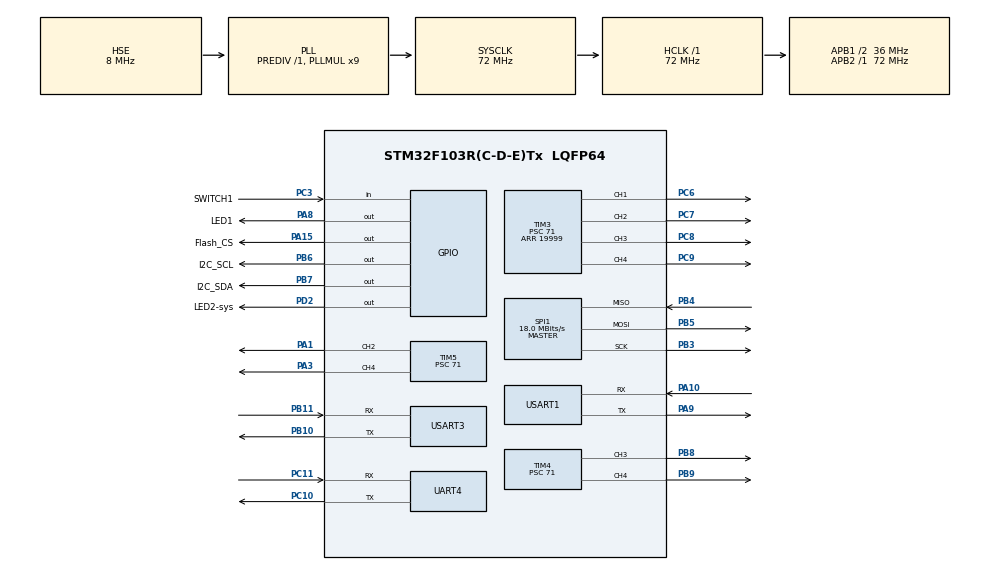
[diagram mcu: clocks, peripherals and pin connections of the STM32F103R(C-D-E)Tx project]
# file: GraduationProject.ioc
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Dma.Request0=USART3_RX
Dma.Request1=USART1_RX
Dma.Request2=UART4_RX
Dma.Request3=USART3_TX
Dma.Request4=USART1_TX
Dma.Request5=UART4_TX
Dma.UART4_RX.2.Direction=DMA_PERIPH_TO_MEMORY
Dma.UART4_RX.2.Instance=DMA2_Channel3
Dma.UART4_RX.2.MemDataAlignment=DMA_MDATAALIGN_BYTE
Dma.UART4_RX.2.MemInc=DMA_MINC_ENABLE
Dma.UART4_RX.2.Mode=DMA_NORMAL
Dma.UART4_RX.2.PeriphDataAlignment=DMA_PDATAALIGN_BYTE
Dma.UART4_RX.2.PeriphInc=DMA_PINC_DISABLE
Dma.UART4_RX.2.Priority=DMA_PRIORITY_LOW
Dma.UART4_TX.5.Direction=DMA_MEMORY_TO_PERIPH
Dma.UART4_TX.5.Instance=DMA2_Channel5
Dma.UART4_TX.5.MemDataAlignment=DMA_MDATAALIGN_BYTE
Dma.UART4_TX.5.MemInc=DMA_MINC_ENABLE
Dma.UART4_TX.5.Mode=DMA_NORMAL
Dma.UART4_TX.5.PeriphDataAlignment=DMA_PDATAALIGN_BYTE
Dma.UART4_TX.5.PeriphInc=DMA_PINC_DISABLE
Dma.UART4_TX.5.Priority=DMA_PRIORITY_LOW
Dma.USART1_RX.1.Direction=DMA_PERIPH_TO_MEMORY
Dma.USART1_RX.1.Instance=DMA1_Channel5
Dma.USART1_RX.1.MemDataAlignment=DMA_MDATAALIGN_BYTE
Dma.USART1_RX.1.MemInc=DMA_MINC_ENABLE
Dma.USART1_RX.1.Mode=DMA_NORMAL
Dma.USART1_RX.1.PeriphDataAlignment=DMA_PDATAALIGN_BYTE
Dma.USART1_RX.1.PeriphInc=DMA_PINC_DISABLE
Dma.USART1_RX.1.Priority=DMA_PRIORITY_LOW
Dma.USART1_TX.4.Direction=DMA_MEMORY_TO_PERIPH
Dma.USART1_TX.4.Instance=DMA1_Channel4
Dma.USART1_TX.4.MemDataAlignment=DMA_MDATAALIGN_BYTE
Dma.USART1_TX.4.MemInc=DMA_MINC_ENABLE
Dma.USART1_TX.4.Mode=DMA_NORMAL
Dma.USART1_TX.4.PeriphDataAlignment=DMA_PDATAALIGN_BYTE
Dma.USART1_TX.4.PeriphInc=DMA_PINC_DISABLE
Dma.USART1_TX.4.Priority=DMA_PRIORITY_LOW
Dma.USART3_RX.0.Direction=DMA_PERIPH_TO_MEMORY
Dma.USART3_RX.0.Instance=DMA1_Channel3
Dma.USART3_RX.0.MemDataAlignment=DMA_MDATAALIGN_BYTE
Dma.USART3_RX.0.MemInc=DMA_MINC_ENABLE
Dma.USART3_RX.0.Mode=DMA_CIRCULAR
Dma.USART3_RX.0.PeriphDataAlignment=DMA_PDATAALIGN_BYTE
Dma.USART3_RX.0.PeriphInc=DMA_PINC_DISABLE
Dma.USART3_RX.0.Priority=DMA_PRIORITY_LOW
Dma.USART3_TX.3.Direction=DMA_MEMORY_TO_PERIPH
Dma.USART3_TX.3.Instance=DMA1_Channel2
Dma.USART3_TX.3.MemDataAlignment=DMA_MDATAALIGN_BYTE
Dma.USART3_TX.3.MemInc=DMA_MINC_ENABLE
Dma.USART3_TX.3.Mode=DMA_NORMAL
Dma.USART3_TX.3.PeriphDataAlignment=DMA_PDATAALIGN_BYTE
Dma.USART3_TX.3.PeriphInc=DMA_PINC_DISABLE
Dma.USART3_TX.3.Priority=DMA_PRIORITY_LOW
FREERTOS.BinarySemaphores01=serialSemaphore1,Dynamic,NULL
FREERTOS.Events01=newSignal,Dynamic,NULL
FREERTOS.Mutexes01=myMutex_ServoInput,Dynamic,NULL
FREERTOS.Tasks01=defaultTask,8,128,StartDefaultTask,Default,NULL,Dynamic,NULL,NULL;Init_all_task,47,128,StartTask02,Default,NULL,Dynamic,NULL,NULL;ToggleLEDTask,39,128,ToggleLED1,Default,NULL,Dynamic,NULL,NULL;task20Task,33,1024,task20,Default,NULL,Dynamic,NULL,NULL;servo0Task,24,128,setServo0,Default,NULL,Dynamic,NULL,NULL;servo1Task,25,128,setServo1,Default,NULL,Dynamic,NULL,NULL;servo2Task,26,128,setServo2,Default,NULL,Dynamic,NULL,NULL;servo3Task,27,128,setServo3,Default,NULL,Dynamic,NULL,NULL;servo4Task,28,128,setServo4,Default,NULL,Dynamic,NULL,NULL;servo5Task,29,128,setServo5,Default,NULL,Dynamic,NULL,NULL;checkserverTask,30,128,checkserver,Default,NULL,Dynamic,NULL,NULL
FREERTOS.configTOTAL_HEAP_SIZE=16384
FREERTOS.configUSE_TICK_HOOK=1
Mcu.Family=STM32F1
Mcu.Name=STM32F103R(C-D-E)Tx
Mcu.Package=LQFP64
NVIC.DMA1_Channel2_IRQn=true\:5\:0\:false\:false\:true\:true\:false\:true
NVIC.DMA1_Channel3_IRQn=true\:5\:0\:false\:false\:true\:true\:false\:true
NVIC.DMA1_Channel4_IRQn=true\:5\:0\:false\:false\:true\:true\:false\:true
NVIC.DMA1_Channel5_IRQn=true\:5\:0\:false\:false\:true\:true\:false\:true
NVIC.DMA2_Channel3_IRQn=true\:5\:0\:false\:false\:true\:true\:false\:true
NVIC.DMA2_Channel4_5_IRQn=true\:5\:0\:false\:false\:true\:true\:false\:true
NVIC.PriorityGroup=NVIC_PRIORITYGROUP_4
NVIC.TIM6_IRQn=true\:0\:0\:false\:false\:true\:false\:false\:true
NVIC.TimeBase=TIM6_IRQn
NVIC.TimeBaseIP=TIM6
NVIC.UART4_IRQn=true\:5\:0\:false\:false\:true\:true\:true\:true
NVIC.USART1_IRQn=true\:5\:0\:false\:false\:true\:true\:true\:true
NVIC.USART3_IRQn=true\:5\:0\:false\:false\:true\:true\:true\:true
PA0-WKUP.Mode=SYS_WakeUp0
PA0-WKUP.Signal=SYS_WKUP
PA1.Signal=S_TIM5_CH2
PA10.Mode=Asynchronous
PA10.Signal=USART1_RX
PA13.Mode=Serial_Wire
PA13.Signal=SYS_JTMS-SWDIO
PA14.Mode=Serial_Wire
PA14.Signal=SYS_JTCK-SWCLK
PA15.GPIO_Label=Flash_CS
PA15.GPIO_PuPd=GPIO_PULLUP
PA15.GPIO_Speed=GPIO_SPEED_FREQ_HIGH
PA15.PinState=GPIO_PIN_SET
PA15.Signal=GPIO_Output
PA3.Signal=S_TIM5_CH4
PA8.GPIO_Label=LED1
PA8.GPIO_Speed=GPIO_SPEED_FREQ_HIGH
PA8.PinState=GPIO_PIN_SET
PA8.Signal=GPIO_Output
PA9.Mode=Asynchronous
PA9.Signal=USART1_TX
PB10.Mode=Asynchronous
PB10.Signal=USART3_TX
PB11.Mode=Asynchronous
PB11.Signal=USART3_RX
PB3.Mode=Full_Duplex_Master
PB3.Signal=SPI1_SCK
PB4.Mode=Full_Duplex_Master
PB4.Signal=SPI1_MISO
PB5.Mode=Full_Duplex_Master
PB5.Signal=SPI1_MOSI
PB6.GPIO_Label=I2C_SCL
PB6.GPIO_ModeDefaultOutputPP=GPIO_MODE_OUTPUT_OD
PB6.GPIO_PuPd=GPIO_PULLUP
PB6.GPIO_Speed=GPIO_SPEED_FREQ_HIGH
PB6.PinState=GPIO_PIN_SET
PB6.Signal=GPIO_Output
PB7.GPIO_Label=I2C_SDA
PB7.GPIO_ModeDefaultOutputPP=GPIO_MODE_OUTPUT_OD
PB7.GPIO_PuPd=GPIO_PULLUP
PB7.GPIO_Speed=GPIO_SPEED_FREQ_HIGH
PB7.PinState=GPIO_PIN_SET
PB7.Signal=GPIO_Output
PB8.Signal=S_TIM4_CH3
PB9.Signal=S_TIM4_CH4
PC10.Mode=Asynchronous
PC10.Signal=UART4_TX
PC11.Mode=Asynchronous
PC11.Signal=UART4_RX
PC14-OSC32_IN.Mode=LSE-External-Oscillator
PC14-OSC32_IN.Signal=RCC_OSC32_IN
PC15-OSC32_OUT.Mode=LSE-External-Oscillator
PC15-OSC32_OUT.Signal=RCC_OSC32_OUT
PC3.GPIO_Label=SWITCH1
PC3.GPIO_PuPd=GPIO_PULLUP
PC3.Signal=GPIO_Input
PC6.GPIO_Speed=GPIO_SPEED_FREQ_HIGH
PC6.Signal=S_TIM3_CH1
PC7.GPIO_Speed=GPIO_SPEED_FREQ_HIGH
PC7.Signal=S_TIM3_CH2
PC8.GPIO_Speed=GPIO_SPEED_FREQ_HIGH
PC8.Signal=S_TIM3_CH3
PC9.GPIO_Speed=GPIO_SPEED_FREQ_HIGH
PC9.Signal=S_TIM3_CH4
PD0-OSC_IN.Mode=HSE-External-Oscillator
PD0-OSC_IN.Signal=RCC_OSC_IN
PD1-OSC_OUT.Mode=HSE-External-Oscillator
PD1-OSC_OUT.Signal=RCC_OSC_OUT
PD2.GPIO_Label=LED2-sys
PD2.GPIO_ModeDefaultOutputPP=GPIO_MODE_OUTPUT_PP
PD2.GPIO_PuPd=GPIO_PULLUP
PD2.GPIO_Speed=GPIO_SPEED_FREQ_HIGH
PD2.PinState=GPIO_PIN_SET
PD2.Signal=GPIO_Output
ProjectManager.HeapSize=0x200
ProjectManager.StackSize=0x400
ProjectManager.TargetToolchain=MDK-ARM V5
RCC.AHBFreq_Value=72000000
RCC.APB1CLKDivider=RCC_HCLK_DIV2
RCC.APB1Freq_Value=36000000
RCC.APB1TimFreq_Value=72000000
RCC.APB2Freq_Value=72000000
RCC.APB2TimFreq_Value=72000000
RCC.HCLKFreq_Value=72000000
RCC.PLLMUL=RCC_PLL_MUL9
RCC.PLLSourceVirtual=RCC_PLLSOURCE_HSE
RCC.SYSCLKFreq_VALUE=72000000
RCC.SYSCLKSource=RCC_SYSCLKSOURCE_PLLCLK
RCC.USBFreq_Value=72000000
SH.S_TIM3_CH1.0=TIM3_CH1,PWM Generation1 CH1
SH.S_TIM3_CH2.0=TIM3_CH2,PWM Generation2 CH2
SH.S_TIM3_CH3.0=TIM3_CH3,PWM Generation3 CH3
SH.S_TIM3_CH4.0=TIM3_CH4,PWM Generation4 CH4
SH.S_TIM4_CH3.0=TIM4_CH3,PWM Generation3 CH3
SH.S_TIM4_CH4.0=TIM4_CH4,PWM Generation4 CH4
SH.S_TIM5_CH2.0=TIM5_CH2,PWM Generation2 CH2
SH.S_TIM5_CH4.0=TIM5_CH4,PWM Generation4 CH4
SPI1.BaudRatePrescaler=SPI_BAUDRATEPRESCALER_4
SPI1.CalculateBaudRate=18.0 MBits/s
SPI1.Direction=SPI_DIRECTION_2LINES
SPI1.Mode=SPI_MODE_MASTER
SPI1.VirtualType=VM_MASTER
TIM3.AutoReloadPreload=TIM_AUTORELOAD_PRELOAD_ENABLE
TIM3.Channel-PWM\ Generation1\ CH1=TIM_CHANNEL_1
TIM3.Channel-PWM\ Generation2\ CH2=TIM_CHANNEL_2
TIM3.Channel-PWM\ Generation3\ CH3=TIM_CHANNEL_3
TIM3.Channel-PWM\ Generation4\ CH4=TIM_CHANNEL_4
TIM3.OCMode_PWM-PWM\ Generation1\ CH1=TIM_OCMODE_PWM2
TIM3.OCMode_PWM-PWM\ Generation2\ CH2=TIM_OCMODE_PWM2
TIM3.OCMode_PWM-PWM\ Generation3\ CH3=TIM_OCMODE_PWM2
TIM3.OCMode_PWM-PWM\ Generation4\ CH4=TIM_OCMODE_PWM2
TIM3.OCPolarity_1=TIM_OCPOLARITY_LOW
TIM3.OCPolarity_2=TIM_OCPOLARITY_LOW
TIM3.OCPolarity_3=TIM_OCPOLARITY_LOW
TIM3.OCPolarity_4=TIM_OCPOLARITY_LOW
TIM3.Period=19999
TIM3.Prescaler=71
TIM4.AutoReloadPreload=TIM_AUTORELOAD_PRELOAD_ENABLE
TIM4.Channel-PWM\ Generation3\ CH3=TIM_CHANNEL_3
TIM4.Channel-PWM\ Generation4\ CH4=TIM_CHANNEL_4
TIM4.OCMode_PWM-PWM\ Generation3\ CH3=TIM_OCMODE_PWM2
TIM4.OCMode_PWM-PWM\ Generation4\ CH4=TIM_OCMODE_PWM2
TIM4.OCPolarity_3=TIM_OCPOLARITY_LOW
TIM4.OCPolarity_4=TIM_OCPOLARITY_LOW
TIM4.Period=19999
TIM4.Prescaler=71
TIM5.AutoReloadPreload=TIM_AUTORELOAD_PRELOAD_ENABLE
TIM5.Channel-PWM\ Generation2\ CH2=TIM_CHANNEL_2
TIM5.Channel-PWM\ Generation4\ CH4=TIM_CHANNEL_4
TIM5.OCMode_PWM-PWM\ Generation2\ CH2=TIM_OCMODE_PWM2
TIM5.OCMode_PWM-PWM\ Generation4\ CH4=TIM_OCMODE_PWM2
TIM5.OCPolarity_2=TIM_OCPOLARITY_LOW
TIM5.OCPolarity_4=TIM_OCPOLARITY_LOW
TIM5.Period=19999
TIM5.Prescaler=71
UART4.VirtualMode=Asynchronous
USART1.VirtualMode=VM_ASYNC
USART3.VirtualMode=VM_ASYNC
VP_FREERTOS_VS_CMSIS_V2.Mode=CMSIS_V2
VP_SYS_VS_tim6.Mode=TIM6
VP_TIM3_VS_ClockSourceINT.Mode=Internal
VP_TIM4_VS_ClockSourceINT.Mode=Internal
VP_TIM5_VS_ClockSourceINT.Mode=Internal
board=custom

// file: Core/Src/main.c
/* USER CODE BEGIN Header */
/**
  ******************************************************************************
  * @file           : main.c
  * @brief          : Main program body
  ******************************************************************************
  * @attention
  *
  * <h2><center>&copy; Copyright (c) 2020 STMicroelectronics.
  * All rights reserved.</center></h2>
  *
  * This software component is licensed by ST under BSD 3-Clause license,
  * the "License"; You may not use this file except in compliance with the
  * License. You may obtain a copy of the License at:
  *                        opensource.org/licenses/BSD-3-Clause
  *
  ******************************************************************************
  */
/* USER CODE END Header */
#include "main.h"
#include "cmsis_os.h"
#include "dma.h"
#include "spi.h"
#include "tim.h"
#include "usart.h"
#include "gpio.h"

/* USER CODE BEGIN Includes */
#include "I2C_SIM.h"
#include "OLED12864.h"
#include "ESP8266.h"
/* USER CODE END Includes */

/* USER CODE BEGIN PV */
I2C_SIM OLED_i2c;
/* USER CODE END PV */

void SystemClock_Config(void);
void MX_FREERTOS_Init(void);

int main(void)
{

  /* MCU Configuration--------------------------------------------------------*/

  /* Reset of all peripherals, Initializes the Flash interface and the Systick. */
  HAL_Init();

  /* Configure the system clock */
  SystemClock_Config();

  /* Initialize all configured peripherals */
  MX_GPIO_Init();
  MX_DMA_Init();
  MX_TIM3_Init();
  MX_USART1_UART_Init();
  MX_SPI1_Init();
  MX_TIM4_Init();
  MX_UART4_Init();
  MX_USART3_UART_Init();
  MX_TIM5_Init();
  /* USER CODE BEGIN 2 */
	I2C_StructInit(&OLED_i2c,
				  I2C_SCL_GPIO_Port, I2C_SCL_Pin,
				  I2C_SDA_GPIO_Port, I2C_SDA_Pin);
	I2C_Init(&OLED_i2c);
	OLED_Init(&OLED_i2c);
  /* USER CODE END 2 */

  /* Init scheduler */
  osKernelInitialize();  /* Call init function for freertos objects (in freertos.c) */
  MX_FREERTOS_Init();
  /* Start scheduler */
  osKernelStart();

  /* We should never get here as control is now taken by the scheduler */
  /* Infinite loop */
  while (1)
  {

  }
}

void SystemClock_Config(void)
{
  RCC_OscInitTypeDef RCC_OscInitStruct = {0};
  RCC_ClkInitTypeDef RCC_ClkInitStruct = {0};

  /** Initializes the RCC Oscillators according to the specified parameters
  * in the RCC_OscInitTypeDef structure.
  */
  RCC_OscInitStruct.OscillatorType = RCC_OSCILLATORTYPE_HSE;
  RCC_OscInitStruct.HSEState = RCC_HSE_ON;
  RCC_OscInitStruct.HSEPredivValue = RCC_HSE_PREDIV_DIV1;
  RCC_OscInitStruct.HSIState = RCC_HSI_ON;
  RCC_OscInitStruct.PLL.PLLState = RCC_PLL_ON;
  RCC_OscInitStruct.PLL.PLLSource = RCC_PLLSOURCE_HSE;
  RCC_OscInitStruct.PLL.PLLMUL = RCC_PLL_MUL9;
  if (HAL_RCC_OscConfig(&RCC_OscInitStruct) != HAL_OK)
  {
    Error_Handler();
  }
  /** Initializes the CPU, AHB and APB buses clocks
  */
  RCC_ClkInitStruct.ClockType = RCC_CLOCKTYPE_HCLK|RCC_CLOCKTYPE_SYSCLK
                              |RCC_CLOCKTYPE_PCLK1|RCC_CLOCKTYPE_PCLK2;
  RCC_ClkInitStruct.SYSCLKSource = RCC_SYSCLKSOURCE_PLLCLK;
  RCC_ClkInitStruct.AHBCLKDivider = RCC_SYSCLK_DIV1;
  RCC_ClkInitStruct.APB1CLKDivider = RCC_HCLK_DIV2;
  RCC_ClkInitStruct.APB2CLKDivider = RCC_HCLK_DIV1;

  if (HAL_RCC_ClockConfig(&RCC_ClkInitStruct, FLASH_LATENCY_2) != HAL_OK)
  {
    Error_Handler();
  }
}

 /**
  * @brief  Period elapsed callback in non blocking mode
  * @note   This function is called  when TIM6 interrupt took place, inside
  * HAL_TIM_IRQHandler(). It makes a direct call to HAL_IncTick() to increment
  * a global variable "uwTick" used as application time base.
  * @param  htim : TIM handle
  * @retval None
  */
void HAL_TIM_PeriodElapsedCallback(TIM_HandleTypeDef *htim)
{
  if (htim->Instance == TIM6) {
    HAL_IncTick();
  }
}

void Error_Handler(void)
{
  __disable_irq();
  while (1)
  {
  }
}

/************************ (C) COPYRIGHT STMicroelectronics *****END OF FILE****/

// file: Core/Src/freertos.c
/* USER CODE BEGIN Header */
/**
  ******************************************************************************
  * File Name          : freertos.c
  * Description        : Code for freertos applications
  ******************************************************************************
  * @attention
  *
  * <h2><center>&copy; Copyright (c) 2020 STMicroelectronics.
  * All rights reserved.</center></h2>
  *
  * This software component is licensed by ST under Ultimate Liberty license
  * SLA0044, the "License"; You may not use this file except in compliance with
  * the License. You may obtain a copy of the License at:
  *                             www.st.com/SLA0044
  *
  ******************************************************************************
  */
/* USER CODE END Header */

#include "FreeRTOS.h"
#include "task.h"
#include "main.h"
#include "cmsis_os.h"

/* USER CODE BEGIN Includes */
#include <stdlib.h>
#include "tim.h"
#include "usart.h"
#include "gpio.h"
#include "servo.h"
#include "stdio.h"
#include "OLED12864.h"
#include "ESP8266.h"
#include "oledicons.h"
#include "KMP.h"
#include "string.h"
#include "community.h"
#include "cJSON.h"
#include "w25qxx.h"
//#include "I2C_SIM.h"
/* USER CODE END Includes */

/* USER CODE BEGIN PTD */
#define WIFIENABLE
#define ACTION_DEMO
/* USER CODE END PTD */

/* USER CODE BEGIN PM */
extern UART_String uart3str,uart4str,uart1str;
extern I2C_SIM OLED_i2c;
/* USER CODE END PM */

/* USER CODE BEGIN Variables */

unsigned char init_finish_flag=0;
myservo Base_Servo,Servo1,Servo2,Servo3,Servo4,Grap_Servo;
char string111[UART_REVBUFFSIZE];
uint16_t strLength=0;
uint8_t dispalymode=0;
uint8_t offline_count;
extern uint8_t actGroupRW_temp[5][2];
uint8_t actGroupToRun[10][2];
/* USER CODE END Variables */
/* Definitions for defaultTask */
osThreadId_t defaultTaskHandle;
const osThreadAttr_t defaultTask_attributes = {
  .name = "defaultTask",
  .priority = (osPriority_t) osPriorityLow,
  .stack_size = 128 * 4
};
/* Definitions for Init_all_task */
osThreadId_t Init_all_taskHandle;
const osThreadAttr_t Init_all_task_attributes = {
  .name = "Init_all_task",
  .priority = (osPriority_t) osPriorityHigh7,
  .stack_size = 128 * 4
};
/* Definitions for ToggleLEDTask */
osThreadId_t ToggleLEDTaskHandle;
const osThreadAttr_t ToggleLEDTask_attributes = {
  .name = "ToggleLEDTask",
  .priority = (osPriority_t) osPriorityAboveNormal7,
  .stack_size = 128 * 4
};
/* Definitions for task20Task */
osThreadId_t task20TaskHandle;
const osThreadAttr_t task20Task_attributes = {
  .name = "task20Task",
  .priority = (osPriority_t) osPriorityAboveNormal1,
  .stack_size = 1024 * 4
};
/* Definitions for servo0Task */
osThreadId_t servo0TaskHandle;
const osThreadAttr_t servo0Task_attributes = {
  .name = "servo0Task",
  .priority = (osPriority_t) osPriorityNormal,
  .stack_size = 128 * 4
};
/* Definitions for servo1Task */
osThreadId_t servo1TaskHandle;
const osThreadAttr_t servo1Task_attributes = {
  .name = "servo1Task",
  .priority = (osPriority_t) osPriorityNormal1,
  .stack_size = 128 * 4
};
/* Definitions for servo2Task */
osThreadId_t servo2TaskHandle;
const osThreadAttr_t servo2Task_attributes = {
  .name = "servo2Task",
  .priority = (osPriority_t) osPriorityNormal2,
  .stack_size = 128 * 4
};
/* Definitions for servo3Task */
osThreadId_t servo3TaskHandle;
const osThreadAttr_t servo3Task_attributes = {
  .name = "servo3Task",
  .priority = (osPriority_t) osPriorityNormal3,
  .stack_size = 128 * 4
};
/* Definitions for servo4Task */
osThreadId_t servo4TaskHandle;
const osThreadAttr_t servo4Task_attributes = {
  .name = "servo4Task",
  .priority = (osPriority_t) osPriorityNormal4,
  .stack_size = 128 * 4
};
/* Definitions for servo5Task */
osThreadId_t servo5TaskHandle;
const osThreadAttr_t servo5Task_attributes = {
  .name = "servo5Task",
  .priority = (osPriority_t) osPriorityNormal5,
  .stack_size = 128 * 4
};
/* Definitions for checkserverTask */
osThreadId_t checkserverTaskHandle;
const osThreadAttr_t checkserverTask_attributes = {
  .name = "checkserverTask",
  .priority = (osPriority_t) osPriorityNormal6,
  .stack_size = 128 * 4
};
/* Definitions for actGroupTask */
osThreadId_t actGroupTaskHandle;
const osThreadAttr_t actGroupTask_attributes = {
  .name = "actGroupTask",
  .priority = (osPriority_t) osPriorityBelowNormal7,
  .stack_size = 128 * 4
};
/* Definitions for myMutex_ServoInput */
osMutexId_t myMutex_ServoInputHandle;
const osMutexAttr_t myMutex_ServoInput_attributes = {
  .name = "myMutex_ServoInput"
};
/* Definitions for serialSemaphore1 */
osSemaphoreId_t serialSemaphore1Handle;
const osSemaphoreAttr_t serialSemaphore1_attributes = {
  .name = "serialSemaphore1"
};
/* Definitions for newSignal */
osEventFlagsId_t newSignalHandle;
const osEventFlagsAttr_t newSignal_attributes = {
  .name = "newSignal"
};

void StartDefaultTask(void *argument);
void StartTask02(void *argument);
void ToggleLED1(void *argument);
void task20(void *argument);
void setServo0(void *argument);
void setServo1(void *argument);
void setServo2(void *argument);
void setServo3(void *argument);
void setServo4(void *argument);
void setServo5(void *argument);
void actGroupCtl(void *argument);
void checkserver(void *argument);

void MX_FREERTOS_Init(void); /* (MISRA C 2004 rule 8.1) */

/* Hook prototypes */
void vApplicationTickHook(void);

/* USER CODE BEGIN 3 */
void vApplicationTickHook( void )
{
   /* This function will be called by each tick interrupt if
   configUSE_TICK_HOOK is set to 1 in FreeRTOSConfig.h. User code can be
   added here, but the tick hook is called from an interrupt context, so
   code must not attempt to block, and only the interrupt safe FreeRTOS API
   functions can be used (those that end in FromISR()). */
}
/* USER CODE END 3 */

void MX_FREERTOS_Init(void) {
  /* Create the mutex(es) */
  /* creation of myMutex_ServoInput */
  myMutex_ServoInputHandle = osMutexNew(&myMutex_ServoInput_attributes);

  /* Create the semaphores(s) */
  /* creation of serialSemaphore1 */
  serialSemaphore1Handle = osSemaphoreNew(1, 1, &serialSemaphore1_attributes);

  /* Create the thread(s) */
  /* creation of defaultTask */
  defaultTaskHandle = osThreadNew(StartDefaultTask, NULL, &defaultTask_attributes);

  /* creation of Init_all_task */
  Init_all_taskHandle = osThreadNew(StartTask02, NULL, &Init_all_task_attributes);

  /* creation of ToggleLEDTask */
  ToggleLEDTaskHandle = osThreadNew(ToggleLED1, NULL, &ToggleLEDTask_attributes);

  /* creation of newSignal */
  newSignalHandle = osEventFlagsNew(&newSignal_attributes);

}

void StartDefaultTask(void *argument)
{
  /* USER CODE BEGIN StartDefaultTask */
  /* Infinite loop */
	while(1)
	{
	    /* Initialize all configured peripherals */
		HAL_GPIO_WritePin(LED2_sys_GPIO_Port,LED2_sys_Pin,GPIO_PIN_RESET);
		osDelay(100);
		HAL_GPIO_WritePin(LED2_sys_GPIO_Port,LED2_sys_Pin,GPIO_PIN_SET);
		osDelay(100);
		HAL_GPIO_WritePin(LED2_sys_GPIO_Port,LED2_sys_Pin,GPIO_PIN_RESET);
		osDelay(100);
		HAL_GPIO_WritePin(LED2_sys_GPIO_Port,LED2_sys_Pin,GPIO_PIN_SET);
		osDelay(2700);

	}
  /* USER CODE END StartDefaultTask */
}

void StartTask02(void *argument)
{
  /* USER CODE BEGIN StartTask02 */

  /* Infinite loop */
	while(1){
		/* USER CODE BEGIN 2 */
		HAL_TIM_PWM_Start(&htim3,TIM_CHANNEL_1);
		HAL_TIM_PWM_Start(&htim3,TIM_CHANNEL_2);
		HAL_TIM_PWM_Start(&htim3,TIM_CHANNEL_3);
		HAL_TIM_PWM_Start(&htim3,TIM_CHANNEL_4);
		HAL_TIM_PWM_Start(&htim4,TIM_CHANNEL_3);
		HAL_TIM_PWM_Start(&htim4,TIM_CHANNEL_4);

		cJSON_Hooks hooks;					//函数挂钩
		hooks.malloc_fn = pvPortMalloc;		//FreeRTOS内存申请
		hooks.free_fn = vPortFree;			//FreeRTOS内存释放
		cJSON_InitHooks(&hooks);			//保存设置

		/* USER CODE END 2 */

		/* USER TASK CREATION BEGIN */

		  /* creation of task20Task */
		task20TaskHandle = osThreadNew(task20, NULL, &task20Task_attributes);

		//printf("%d\r\n",(int)task20Handle);
		Base_Servo.angle_new=1500;
		Base_Servo.runtime=100;
		Servo1.angle_new=2500;
		Servo1.runtime=100;
		Servo2.angle_new=2500;
		Servo2.runtime=100;
		Servo3.angle_new=500;
		Servo3.runtime=100;
		Servo4.angle_new=1700;
		Servo4.runtime=100;
		Grap_Servo.angle_new=500;
		Grap_Servo.runtime=100;

		servo0TaskHandle = osThreadNew(setServo0, NULL, &servo0Task_attributes);
		servo1TaskHandle = osThreadNew(setServo1, NULL, &servo1Task_attributes);
		servo2TaskHandle = osThreadNew(setServo2, NULL, &servo2Task_attributes);
		servo3TaskHandle = osThreadNew(setServo3, NULL, &servo3Task_attributes);
		servo4TaskHandle = osThreadNew(setServo4, NULL, &servo4Task_attributes);
		servo5TaskHandle = osThreadNew(setServo5, NULL, &servo5Task_attributes);

		actGroupTaskHandle = osThreadNew(actGroupCtl,NULL,&actGroupTask_attributes);

		osThreadSuspend(task20TaskHandle);
		OLED_Fill(&OLED_i2c,0,0,127,63,1);
		OLED_Clear(&OLED_i2c);
		OLED_Showicons(0,0,(uint8_t *)gImage_BUCT,128,32,1);
		OLED_Showicons(16,40,(uint8_t *)gImage_jidian,96,24,1);
		OLED_Refresh_Gram(&OLED_i2c);
		osDelay(1000);
		osDelay(500);
		OLED_Clear(&OLED_i2c);
		OLED_ShowString(&OLED_i2c,0,0,(const uint8_t *)"Developed With: ",16);
		OLED_Showicons(0,32,(uint8_t *)gImage_onenet,128,32,1);
		OLED_Refresh_Gram(&OLED_i2c);
		osDelay(1000);
		osDelay(500);
		OLED_Clear(&OLED_i2c);

		W25qxx_Init();

		for(int i =0;i<128;i++){
			OLED_DrawPoint(i,11,1);
		}
		osThreadResume(task20TaskHandle);

#ifdef	ACTION_DEMO
		dispalymode=1;
		demo_group();
		dispalymode=0;
		OLED_Fill(&OLED_i2c,0,12,127,63,0);
#endif

#ifdef WIFIENABLE
		uint8_t *ptemp;
		ptemp=pvPortMalloc(10);
		W25qxx_ReadSector((uint8_t *)ptemp,WIFI_SECTOR,ENABLE_OFFSET,10);
		if(atoi((char *)ptemp)==1)
			Esp8266_Init();
		vPortFree(ptemp);
#endif
		for(int i =0;i<128;i++){
			OLED_DrawPoint(i,11,1);
		}

		osEventFlagsClear(newSignalHandle,0xFFFFFFFF);

		printf("current PID:\tpid_count %d\r\n",osThreadGetCount());
		printf("%d\t%s\t%d\r\n",(int)defaultTaskHandle,osThreadGetName(defaultTaskHandle),osThreadGetState(defaultTaskHandle));
		printf("%d\t%s\t%d\r\n",(int)ToggleLEDTaskHandle,osThreadGetName(ToggleLEDTaskHandle),osThreadGetState(ToggleLEDTaskHandle));
		printf("%d\t%s\t%d\r\n",(int)servo0TaskHandle,osThreadGetName(servo0TaskHandle),osThreadGetState(servo0TaskHandle));
		printf("%d\t%s\t%d\r\n",(int)servo1TaskHandle,osThreadGetName(servo1TaskHandle),osThreadGetState(servo1TaskHandle));
		printf("%d\t%s\t%d\r\n",(int)servo2TaskHandle,osThreadGetName(servo2TaskHandle),osThreadGetState(servo2TaskHandle));
		printf("%d\t%s\t%d\r\n",(int)servo3TaskHandle,osThreadGetName(servo3TaskHandle),osThreadGetState(servo3TaskHandle));
		printf("%d\t%s\t%d\r\n",(int)servo4TaskHandle,osThreadGetName(servo4TaskHandle),osThreadGetState(servo4TaskHandle));
		printf("%d\t%s\t%d\r\n",(int)servo5TaskHandle,osThreadGetName(servo5TaskHandle),osThreadGetState(servo5TaskHandle));
		printf("%d\t%s\t%d\r\n",(int)task20TaskHandle,osThreadGetName(task20TaskHandle),osThreadGetState(task20TaskHandle));
		printf("the min free stack size is %d \r\n",(int32_t)uxTaskGetStackHighWaterMark(NULL));
		//printf("%d",osEventFlagsGet(newSignalHandle));
		init_finish_flag=1;
		OLED_Fill(&OLED_i2c,0,12,127,63,0);
		osDelay(10);

		/* USER TASK CREATION END */
		//osThreadDetach(Init_all_taskHandle);

		dispalymode=1;
		vTaskDelete(Init_all_taskHandle);
//		osThreadExit();
//		osThreadSuspend(Init_all_taskHandle);
		//osDelay(500);
	}
  /* USER CODE END StartTask02 */
}

void ToggleLED1(void *argument)
{
  /* USER CODE BEGIN ToggleLED1 */
  /* Infinite loop */
	while(1)
	{
		char strtemp[10];
		memset(strtemp,0,10);
		if(dispalymode==1){
//			OLED_Fill(&OLED_i2c,0,12,127,63,0);
			memset(strtemp,0,10);
			sprintf(strtemp,"%d    ",Base_Servo.angle_old);
			OLED_ShowString(&OLED_i2c,0,12,(const uint8_t *)strtemp,12);
			memset(strtemp,0,10);
			sprintf(strtemp,"%d   ",Servo1.angle_old);
			OLED_ShowString(&OLED_i2c,43,12,(const uint8_t *)strtemp,12);
			memset(strtemp,0,10);
			sprintf(strtemp,"%d   ",Servo2.angle_old);
			OLED_ShowString(&OLED_i2c,86,12,(const uint8_t *)strtemp,12);
			memset(strtemp,0,10);
			sprintf(strtemp,"%d   ",Servo3.angle_old);
			OLED_ShowString(&OLED_i2c,0,25,(const uint8_t *)strtemp,12);
			memset(strtemp,0,10);
			sprintf(strtemp,"%d   ",Servo4.angle_old);
			OLED_ShowString(&OLED_i2c,43,25,(const uint8_t *)strtemp,12);
			memset(strtemp,0,10);
			sprintf(strtemp,"%d   ",Grap_Servo.angle_old);
			OLED_ShowString(&OLED_i2c,86,25,(const uint8_t *)strtemp,12);
		}
		osDelay(200);
		OLED_Refresh_Gram(&OLED_i2c);
	}
  /* USER CODE END ToggleLED1 */
}

void task20(void *argument)
{
  /* USER CODE BEGIN task20 */
  /* Infinite loop */
	while(1)
	{
		osSemaphoreAcquire(serialSemaphore1Handle,osWaitForever);
		osDelay(20);
		printf("new msg,length=%d\r\n",uart3str.Uart_RecvLens);
		strLength = Get_Uart_Data(USART3,(uint8_t *)&string111,uart3str.Uart_RecvLens);
		if(strLength > 0){
			if(0<=KMP((uint8_t *)string111,strLength,(uint8_t *)"Hey",3)){
				offline_count--;
				HAL_GPIO_TogglePin(LED1_GPIO_Port,LED1_Pin);
				continue;
			}
			printf("USART3 Received:%s",string111);
			if(init_finish_flag==0){
				OLED_Fill(&OLED_i2c,0,12,127,63,0);
				OLED_ShowString(&OLED_i2c,0,12,(const uint8_t *)string111,12);
			}
			else{
				Get_Info();
			}

			//Uart3_DMA_Sent((uint8_t *)string111,strLength);
		}
		else{
			memset(string111,0,UART_REVBUFFSIZE);
			strLength = Get_Uart_Data(USART1,(uint8_t *)&string111,uart1str.Uart_RecvLens);
			printf("USART1 Received:%s",string111);
			Get_Info();
		}
//		HAL_GPIO_TogglePin(LED1_GPIO_Port,LED1_Pin);

	}
  /* USER CODE END task20 */
}

void setServo0(void *argument)
{
  /* USER CODE BEGIN setServo0 */
	int i=0;
  /* Infinite loop */
	while(1)
	{
		i=0;
		printf("servo0 alive\r\n");
		while((i < (Base_Servo.runtime/50))&&(Base_Servo.angle_old!=Base_Servo.angle_new)){
			TIM3 -> CCR1 = Base_Servo.angle_old+((Base_Servo.angle_new-Base_Servo.angle_old)/
												(Base_Servo.runtime/50))*i;
			i++;
			//printf("running1\r\n");
			osDelay(50);
		}
		TIM3 -> CCR1 = Base_Servo.angle_new;
		printf("OK\r\n");
		Base_Servo.angle_old = Base_Servo.angle_new;
		osEventFlagsSet(newSignalHandle,0x1000);		//1<<12
		osDelay(50);
		osEventFlagsWait(newSignalHandle,0x01,osFlagsWaitAll,osWaitForever);
	}
  /* USER CODE END setServo0 */
}

void setServo1(void *argument)
{
  /* USER CODE BEGIN setServo1 */
	unsigned int i;
  /* Infinite loop */
	while(1)
	{
		i=0;
		printf("servo1 alive\r\n");
		while((i < (Servo1.runtime/50))&&(Servo1.angle_old!=Servo1.angle_new)){
			TIM3 -> CCR2 = Servo1.angle_old+((Servo1.angle_new-Servo1.angle_old)/
												(Servo1.runtime/50))*i;
			i++;
			osDelay(50);
		}
		TIM3 -> CCR2 = Servo1.angle_new;
		Servo1.angle_old = Servo1.angle_new;
		osEventFlagsSet(newSignalHandle,0x2000);	//1<<13
		osDelay(50);
		osEventFlagsWait(newSignalHandle,0x02,osFlagsWaitAll,osWaitForever);
	}
  /* USER CODE END setServo1 */
}

void setServo2(void *argument)
{
  /* USER CODE BEGIN setServo2 */
	unsigned int i;
  /* Infinite loop */
	while(1)
	{
		i=0;
		printf("servo2 alive\r\n");
		while((i < (Servo2.runtime/50))&&(Servo2.angle_old!=Servo2.angle_new)){
			TIM3 -> CCR3 = Servo2.angle_old+((Servo2.angle_new-Servo2.angle_old)/
												(Servo2.runtime/50))*i;
			i++;
			osDelay(50);
		}
		TIM3 -> CCR3 = Servo2.angle_new;
		Servo2.angle_old = Servo2.angle_new;
		osEventFlagsSet(newSignalHandle,0x4000);	//1<<14
		osDelay(50);
		osEventFlagsWait(newSignalHandle,0x04,osFlagsWaitAll,osWaitForever);
	}
  /* USER CODE END setServo2 */
}

void setServo3(void *argument)
{
  /* USER CODE BEGIN setServo3 */
	unsigned int i;
  /* Infinite loop */
	while(1)
	{
		i=0;
		printf("servo3 alive\r\n");
		while((i < (Servo3.runtime/50))&&(Servo3.angle_old!=Servo3.angle_new)){
			TIM3 -> CCR4 = Servo3.angle_old+((Servo3.angle_new-Servo3.angle_old)/
												(Servo3.runtime/50))*i;
			i++;
			osDelay(50);
		}
		TIM3 -> CCR4 = Servo3.angle_new;
		Servo3.angle_old = Servo3.angle_new;
		osEventFlagsSet(newSignalHandle,0x8000);	//1<<15
		osDelay(50);
		osEventFlagsWait(newSignalHandle,0x08,osFlagsWaitAll,osWaitForever);
	}
  /* USER CODE END setServo3 */
}

void setServo4(void *argument)
{
  /* USER CODE BEGIN setServo4 */
	unsigned int i;
  /* Infinite loop */
	while(1)
	{
		i=0;
		printf("servo4 alive\r\n");
		while((i < (Servo4.runtime/50))&&(Servo4.angle_old!=Servo4.angle_new)){
			TIM4 -> CCR3 = Servo4.angle_old+((Servo4.angle_new-Servo4.angle_old)/
												(Servo4.runtime/50))*i;
			i++;
			osDelay(50);
		}
		TIM4 -> CCR3 = Servo4.angle_new;
		Servo4.angle_old = Servo4.angle_new;
		osEventFlagsSet(newSignalHandle,0x10000);	//1<<16
		osDelay(50);
		osEventFlagsWait(newSignalHandle,0x10,osFlagsWaitAll,osWaitForever);
	}
  /* USER CODE END setServo4 */
}

void setServo5(void *argument)
{
  /* USER CODE BEGIN setServo5 */
	unsigned int i;
  /* Infinite loop */
	while(1)
	{
		i=0;
		printf("servo5 alive\r\n");
		while((i < (Grap_Servo.runtime/50))&&(Grap_Servo.angle_old!=Grap_Servo.angle_new)){
			TIM4 -> CCR4 = Grap_Servo.angle_old+((Grap_Servo.angle_new-Grap_Servo.angle_old)/
												(Grap_Servo.runtime/50))*i;
			i++;
			osDelay(50);
		}
		TIM4 -> CCR4 = Grap_Servo.angle_new;
		Grap_Servo.angle_old = Grap_Servo.angle_new;
		osEventFlagsSet(newSignalHandle,0x20000);	//1<<17
		osDelay(50);
		osEventFlagsWait(newSignalHandle,0x20,osFlagsWaitAll,osWaitForever);

	}
  /* USER CODE END setServo5 */
}

/* USER CODE BEGIN Application */
void actGroupCtl(void *argument)
{
	char *pTemp;

	while(1){
		uint8_t count=0;
		pTemp=pvPortMalloc(20);
		memset(pTemp,0,20);
		osDelay(20);
		osEventFlagsWait(newSignalHandle,0x100000,osFlagsWaitAll,osWaitForever);//1<<20
		while(count<10){
			//执行
			memset(actGroupRW_temp,0,20);
			memset(pTemp,0,20);
			printf("ActGroup to Run is:");
			for (int i=0;i<10;i++){
				printf("G%d:%d",actGroupToRun[i][0],actGroupToRun[i][1]);
			}
			printf("\r\n");
			printf("Reading Group%d in Flash\r\n",actGroupToRun[count][0]);
			W25qxx_ReadSector((uint8_t *)pTemp,ACTGROUP_SECTOR,ACTGROUP_OFFSET+actGroupToRun[count][0]*ACTGROUP_SIZE,ACTGROUP_SIZE);
			//memcpy(actGroupRW_temp,pTemp,ACTGROUP_SIZE);	//读到的存入数组
//			printf("offset=%d\r\n",ACTGROUP_OFFSET+actGroupToRun[count][0]*ACTGROUP_SIZE);
//			printf("\"%s\"\r\n",pTemp);
//			printf("\"%s\"\r\n",(char *)actGroupRW_temp);
//			for(int i=0;i<20;i++){
//				printf("%d\t",pTemp[i]);
//			}
//			printf("\r\nRead G%d,S1:a=%d,t=%d\r\n",actGroupToRun[count][0],pTemp[0]+pTemp[1]*256,pTemp[2]+pTemp[3]*256);

			Base_Servo.angle_new 	= pTemp[0]+pTemp[1]*256;
			Base_Servo.runtime 		= pTemp[2]+pTemp[3]*256;
			Servo1.angle_new 		= pTemp[4]+pTemp[5]*256;
			Servo1.runtime 			= pTemp[6]+pTemp[7]*256;
			Servo2.angle_new	 	= pTemp[8]+pTemp[9]*256;
			Servo2.runtime 			= pTemp[10]+pTemp[11]*256;
			Servo3.angle_new 		= pTemp[12]+pTemp[13]*256;
			Servo3.runtime 			= pTemp[14]+pTemp[15]*256;
			Servo4.angle_new 		= pTemp[16]+pTemp[17]*256;
			Servo4.runtime 			= pTemp[18]+pTemp[19]*256;

//			Base_Servo.angle_new 	= actGroupRW_temp[0][0];
//			Base_Servo.runtime 		= actGroupRW_temp[0][1];
//			Servo1.angle_new 		= actGroupRW_temp[1][0];
//			Servo1.runtime 			= actGroupRW_temp[1][1];
//			Servo2.angle_new	 	= actGroupRW_temp[2][0];
//			Servo2.runtime 			= actGroupRW_temp[2][1];
//			Servo3.angle_new 		= actGroupRW_temp[3][0];
//			Servo3.runtime 			= actGroupRW_temp[3][1];
//			Servo4.angle_new 		= actGroupRW_temp[4][0];
//			Servo4.runtime 			= actGroupRW_temp[4][1];

			osEventFlagsSet(newSignalHandle,0x1F);									//释放所有舵机
			osEventFlagsWait(newSignalHandle,0x1F000,osFlagsWaitAll,osWaitForever);//等待所有舵机完成动作	1<<12~1<<16
			if(actGroupToRun[count][1]>=0xFE)
				break;
			osDelay(actGroupToRun[count][1]*1000);
			count++;
		}
		vPortFree(pTemp);
	}
}
/* USER CODE END Application */

/************************ (C) COPYRIGHT STMicroelectronics *****END OF FILE****/
